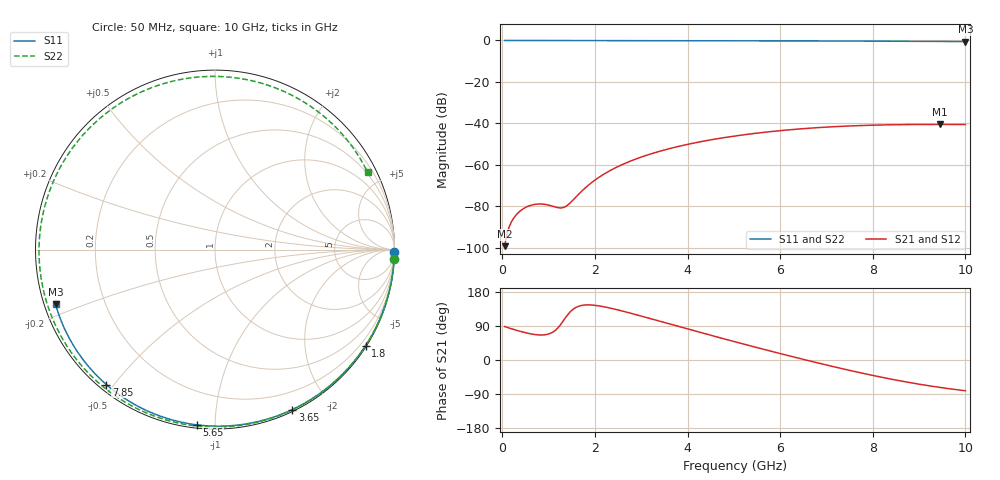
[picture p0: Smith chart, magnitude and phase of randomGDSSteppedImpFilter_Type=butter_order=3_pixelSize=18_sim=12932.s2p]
! freq	dB(S11)	phase(S11)	dB(S12)	phase(S12)
!  dB(S21)	phase(S21)	dB(S22)	phase(S22)
!S-par simulation data
#  GHz  S  DB  R 50
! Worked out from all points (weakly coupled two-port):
!   200 points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, 50 MHz to 10 GHz, reference 50 ohm
!   highest |S21| = -40.47 dB at 9.45 GHz (marker M1); lowest = -99.2 dB at 50 MHz (marker M2)
!   lowest |S11| = -0.5 dB at 10 GHz (marker M3), VSWR 31.84, Z = 1.61 - j8.3 ohm
!   |S11| at or under -10 dB: nowhere
!   |S22| runs from -0.4 to 0.0 dB; largest |S21 - S12| = 0
!   S11 on the Smith chart (normalised r, x): 50 MHz: open; 1.8 GHz: 0.03, -3.43; 3.65 GHz: 0.02, -1.60; 5.65 GHz: 0.02, -0.90; 7.85 GHz: 0.02, -0.48; 10 GHz: 0.03, -0.17
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0.05  -0.00 -0.9  -99.17 88.3  -99.17 88.3  -0.01 -3.0
0.4  -0.01 -7.3  -81.96 75.2  -81.96 75.2  -0.03 -23.8
0.75  -0.02 -13.7  -78.89 66.5  -78.89 66.5  -0.06 -43.7
1.05  -0.02 -19.1  -79.67 70.9  -79.67 70.9  -0.07 -59.9
1.35  -0.03 -24.5  -80.28 109.0  -80.28 109.0  -0.09 -75.1
1.45  -0.03 -26.3  -78.66 124.9  -78.66 124.9  -0.09 -79.9
1.75  -0.04 -31.6  -71.92 144.7  -71.92 144.7  -0.10 -93.7
1.8  -0.04 -32.5  -70.90 145.3  -70.90 145.3  -0.10 -95.9
2.1  -0.05 -37.8  -65.78 142.6  -65.78 142.6  -0.11 -108.4
2.45  -0.06 -43.9  -61.32 133.6  -61.32 133.6  -0.12 -122.0
2.9  -0.07 -51.6  -57.02 119.2  -57.02 119.2  -0.13 -137.9
3.4  -0.08 -60.0  -53.41 102.4  -53.41 102.4  -0.14 -153.9
3.65  -0.09 -64.2  -51.91 93.9  -51.91 93.9  -0.15 -161.4
4.35  -0.11 -75.6  -48.53 70.3  -48.53 70.3  -0.17 178.7
5.05  -0.13 -86.7  -45.98 47.2  -45.98 47.2  -0.20 160.1
5.65  -0.16 -96.0  -44.29 28.0  -44.29 28.0  -0.22 144.5
6.7  -0.22 -111.8  -42.19 -4.4  -42.19 -4.4  -0.26 117.4
7.3  -0.26 -120.7  -41.42 -21.8  -41.42 -21.8  -0.29 101.6
7.85  -0.31 -128.8  -40.94 -36.8  -40.94 -36.8  -0.31 86.9
8.35  -0.35 -136.2  -40.67 -49.4  -40.67 -49.4  -0.33 73.2
9.45  -0.47 -152.7  -40.47 -72.4  -40.47 -72.4  -0.38 42.4
10  -0.55 -161.1  -40.51 -81.1  -40.51 -81.1  -0.42 26.8
